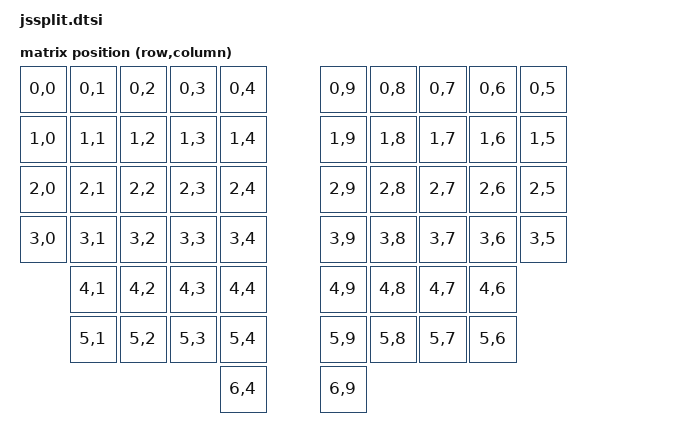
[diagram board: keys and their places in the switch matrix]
#include "jssplit-layouts.dtsi"
#include <dt-bindings/zmk/matrix_transform.h>

/ {
    matrix_transform0: matrix_transform0 {
        compatible = "zmk,matrix-transform";
        columns = <10>;
        rows = <7>;
        map = <
				RC(0,0) RC(0,1) RC(0,2) RC(0,3) RC(0,4)         RC(0,9) RC(0,8) RC(0,7) RC(0,6) RC(0,5)
				RC(1,0) RC(1,1) RC(1,2) RC(1,3) RC(1,4)         RC(1,9) RC(1,8) RC(1,7) RC(1,6) RC(1,5)
				RC(2,0) RC(2,1) RC(2,2) RC(2,3) RC(2,4)         RC(2,9) RC(2,8) RC(2,7) RC(2,6) RC(2,5)
				RC(3,0)	RC(3,1)	RC(3,2) RC(3,3) RC(3,4)         RC(3,9) RC(3,8) RC(3,7) RC(3,6) RC(3,5)
						RC(4,1)	RC(4,2) RC(4,3) RC(4,4)			RC(4,9)	RC(4,8) RC(4,7)	RC(4,6)				
						RC(5,1)	RC(5,2) RC(5,3) RC(5,4)         RC(5,9) RC(5,8) RC(5,7) RC(5,6)
												RC(6,4)         RC(6,9)
		>;
    };
};

&physical_layout_jssplit {
    transform = <&matrix_transform0>;
};

// Input devices
/ {
    split_inputs {
        #address-cells = <1>;
        #size-cells = <0>;

        input_split_right0: input_split_right0@0 {
            compatible = "zmk,input-split";
            reg = <0>;
            status = "disabled";
        };
    };

    input_listener_right0: input_listener_right0 {
        compatible = "zmk,input-listener";
        status = "disabled";
        device = <&input_split_right0>;
    };
};

